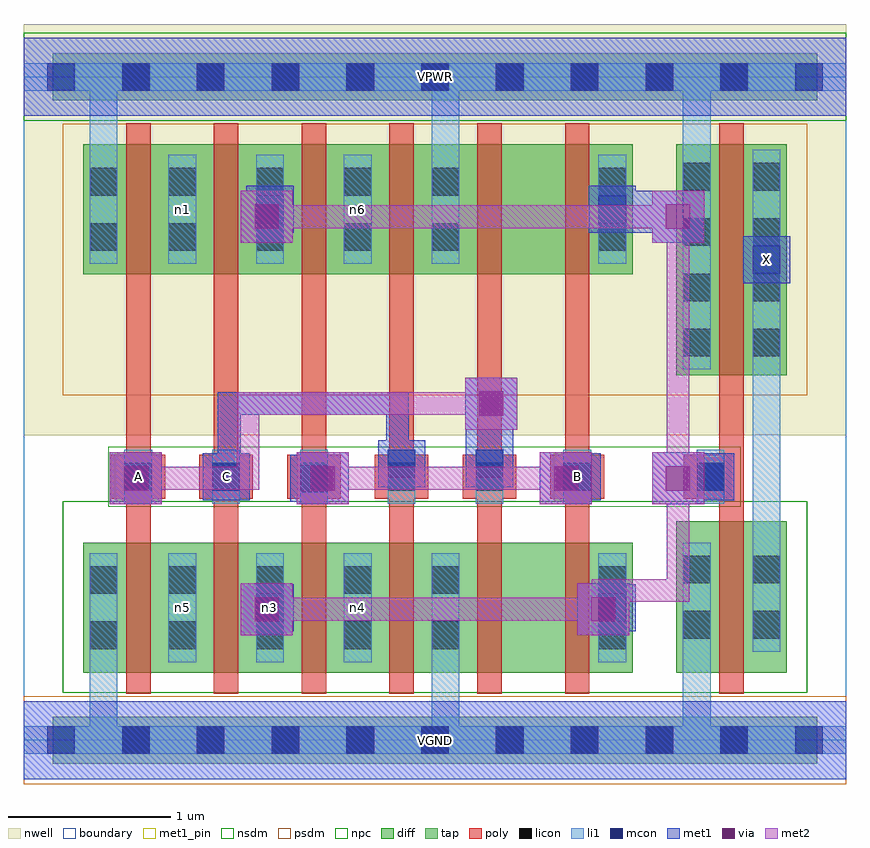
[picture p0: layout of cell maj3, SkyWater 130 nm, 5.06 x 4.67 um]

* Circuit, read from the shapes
.subckt maj3 A B C VGND VPWR X n1 n3 n4 n5 n6
XM1 n5 A VGND VGND sky130_fd_pr__nfet_01v8 w=0.8 l=0.15
XM2 n3 C n5 VGND sky130_fd_pr__nfet_01v8 w=0.8 l=0.15
XM3 n4 B n3 VGND sky130_fd_pr__nfet_01v8 w=0.8 l=0.15
XM4 VGND C n4 VGND sky130_fd_pr__nfet_01v8 w=0.8 l=0.15
XM5 n2 A VGND VGND sky130_fd_pr__nfet_01v8 w=0.8 l=0.15
XM6 n3 B n2 VGND sky130_fd_pr__nfet_01v8 w=0.8 l=0.15
XM7 X n3 VGND VGND sky130_fd_pr__nfet_01v8 w=0.93 l=0.15
XM8 n1 A VPWR VPWR sky130_fd_pr__pfet_01v8 w=0.8 l=0.15
XM9 n3 C n1 VPWR sky130_fd_pr__pfet_01v8 w=0.8 l=0.15
XM10 n6 B n3 VPWR sky130_fd_pr__pfet_01v8 w=0.8 l=0.15
XM11 VPWR C n6 VPWR sky130_fd_pr__pfet_01v8 w=0.8 l=0.15
XM12 n7 A VPWR VPWR sky130_fd_pr__pfet_01v8 w=0.8 l=0.15
XM13 n3 B n7 VPWR sky130_fd_pr__pfet_01v8 w=0.8 l=0.15
XM14 X n3 VPWR VPWR sky130_fd_pr__pfet_01v8 w=1.42 l=0.15
.ends

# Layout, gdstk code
import gdstk
lib = gdstk.Library(unit=1e-6, precision=1e-09)
def R(c, l, rs):  # rectangles x0, y0, x1, y1
    for r in rs: c.add(gdstk.rectangle(r[:2], r[2:], *l))
def A(c, l, x, y, w, h, nx, ny, dx, dy):  # array of equal rectangles
    R(c, l, [(x+i*dx, y+j*dy, x+i*dx+w, y+j*dy+h) for i in range(nx) for j in range(ny)])
nwell = (64, 20)
diff = (65, 20)
tap = (65, 44)
poly = (66, 20)
licon = (66, 44)
li1 = (67, 20)
mcon = (67, 44)
met1_pin = (68, 16)
met1 = (68, 20)
via = (68, 44)
met2 = (69, 20)
nsdm = (93, 44)
psdm = (94, 20)
npc = (95, 20)
boundary = (235, 4)

maj3 = lib.new_cell('maj3')
R(maj3, nwell, [(0,1.875,5.06,4.405)])
R(maj3, diff, [(0.365,0.415,3.745,1.215), (4.015,0.415,4.695,1.345), (4.015,2.245,4.695,3.665), (0.365,2.865,3.745,3.665)])
R(maj3, tap, [(0.18,-0.145,4.88,0.145), (0.18,3.935,4.88,4.225)])
A(maj3, poly, 0.63, 0.285, 0.15, 3.51, 6, 1, 0.54, 0)
A(maj3, poly, 0.54, 1.485, 0.33, 0.27, 6, 1, 0.54, 0)
R(maj3, poly, [(4.28,0.285,4.43,3.795), (4.06,1.485,4.39,1.755)])
A(maj3, licon, 0.605, -0.085, 0.17, 0.17, 9, 2, 0.46, 4.08)
A(maj3, licon, 0.89, 0.56, 0.17, 0.17, 4, 2, 0.54, 0.34)
A(maj3, licon, 0.62, 1.535, 0.17, 0.17, 6, 1, 0.54, 0)
A(maj3, licon, 4.055, 2.36, 0.17, 0.17, 1, 4, 0, 0.34)
A(maj3, licon, 4.485, 2.36, 0.17, 0.17, 1, 4, 0, 0.34)
A(maj3, licon, 0.89, 3.01, 0.17, 0.17, 4, 2, 0.54, 0.34)
R(maj3, licon, [(0.405,0.56,0.575,0.73), (3.535,0.56,3.705,0.73), (4.055,0.625,4.225,0.795), (4.485,0.625,4.655,0.795), (0.405,0.9,0.575,1.07), (3.535,0.9,3.705,1.07), (4.055,0.965,4.225,1.135), (4.485,0.965,4.655,1.135), (4.14,1.535,4.31,1.705), (0.405,3.01,0.575,3.18), (3.535,3.01,3.705,3.18), (0.405,3.35,0.575,3.52), (3.535,3.35,3.705,3.52)])
A(maj3, li1, 0.89, 0.48, 0.17, 0.67, 4, 2, 0.54, 2.45)
A(maj3, li1, 0.62, 1.455, 0.17, 0.33, 6, 1, 0.54, 0)
R(maj3, li1, [(0,-0.085,5.06,0.085), (0.405,-0.085,0.575,1.15), (2.51,-0.085,2.68,1.15), (4.055,-0.085,4.225,1.215), (0.405,0.48,0.575,1.15), (3.535,0.48,3.705,1.15), (4.055,0.545,4.225,1.215), (4.485,0.545,4.655,1.215), (4.485,0.545,4.655,3.63), (4.14,1.455,4.31,1.785), (4.055,2.28,4.225,3.63), (4.055,2.28,4.225,4.165), (4.485,2.28,4.655,3.63), (0.405,2.93,0.575,3.6), (0.405,2.93,0.575,4.165), (2.51,2.93,2.68,4.165), (3.535,2.93,3.705,3.6), (0,3.995,5.06,4.165)])
A(maj3, mcon, 0.145, -0.085, 0.17, 0.17, 11, 2, 0.46, 4.08)
R(maj3, mcon, [(1.43,0.73,1.6,0.9), (3.535,0.73,3.705,0.9), (1.7,1.525,1.87,1.695), (0.62,1.535,0.79,1.705), (1.16,1.535,1.33,1.705), (3.32,1.535,3.49,1.705), (4.14,1.535,4.31,1.705), (2.24,1.615,2.41,1.785), (2.78,1.615,2.95,1.785), (4.485,2.87,4.655,3.04), (1.43,3.18,1.6,3.35), (3.535,3.18,3.705,3.35)])
R(maj3, met1_pin, [(0,-0.24,5.06,0.24), (0.56,1.475,0.85,1.765), (1.1,1.475,1.39,1.765), (3.26,1.475,3.55,1.765), (4.425,2.81,4.715,3.1), (0,3.84,5.06,4.32)])
R(maj3, met1, [(0,-0.24,5.06,0.24), (1.335,0.645,1.655,0.965), (3.405,0.645,3.725,0.965), (1.37,0.67,1.66,0.96), (3.475,0.67,3.765,0.96), (1.425,0.735,1.565,0.875), (3.495,0.735,3.635,0.875), (0.53,1.45,0.85,1.77), (1.68,1.45,2,1.77), (3.175,1.45,3.495,1.77), (3.865,1.45,4.185,1.77), (1.64,1.465,1.93,1.755), (0.56,1.475,0.85,1.765), (1.1,1.475,1.39,1.765), (3.26,1.475,3.55,1.765), (4.08,1.475,4.37,1.765), (0.62,1.54,0.76,1.68), (1.195,1.54,1.335,1.68), (1.195,1.54,1.335,2.14), (1.715,1.54,1.91,1.68), (3.265,1.54,3.405,1.68), (3.955,1.54,4.325,1.68), (4.185,1.54,4.325,1.68), (2.18,1.555,2.47,1.845), (2.72,1.555,3.01,1.845), (2.23,1.63,2.395,1.77), (2.23,1.63,2.37,1.91), (2.795,1.63,2.945,1.77), (2.805,1.63,2.945,1.91), (2.23,1.77,2.37,2.14), (2.805,1.77,2.945,2.14), (2.72,1.845,3.01,1.91), (2.715,1.91,3.035,2.23), (1.195,2,2.37,2.14), (4.425,2.81,4.715,3.1), (1.335,3.06,1.655,3.38), (3.865,3.06,4.185,3.38), (1.37,3.12,1.66,3.41), (3.475,3.12,3.765,3.41), (3.765,3.12,3.865,3.38), (1.425,3.15,1.565,3.29), (3.61,3.15,3.75,3.29), (3.61,3.15,4.095,3.29), (0,3.84,5.06,4.32)])
R(maj3, via, [(1.42,0.73,1.57,0.88), (3.49,0.73,3.64,0.88), (0.615,1.535,0.765,1.685), (1.765,1.535,1.915,1.685), (3.26,1.535,3.41,1.685), (3.95,1.535,4.1,1.685), (2.8,1.995,2.95,2.145), (1.42,3.145,1.57,3.295), (3.95,3.145,4.1,3.295)])
R(maj3, met2, [(1.335,0.645,1.655,0.965), (3.405,0.645,3.725,0.965), (1.425,0.735,3.635,0.875), (3.495,0.735,3.635,0.99), (3.495,0.85,4.095,0.99), (3.955,0.85,4.095,1.68), (0.53,1.45,0.85,1.77), (1.68,1.45,2,1.77), (3.175,1.45,3.495,1.77), (3.865,1.45,4.185,1.77), (0.62,1.54,1.45,1.68), (1.31,1.54,1.45,2.14), (1.77,1.54,3.405,1.68), (3.955,1.54,4.095,3.29), (2.715,1.91,3.035,2.23), (1.31,2,2.945,2.14), (1.335,3.06,1.655,3.38), (3.865,3.06,4.185,3.38), (1.425,3.15,4.095,3.29)])
R(maj3, nsdm, [(0.24,0.29,4.82,1.47), (0,3.81,5.06,4.35)])
R(maj3, psdm, [(0,-0.27,5.06,0.27), (0.24,2.12,4.82,3.79)])
R(maj3, npc, [(0.52,1.435,4.41,1.805)])
R(maj3, boundary, [(0,0,5.06,4.08)])
maj3.add(gdstk.Label('n5', (0.975,0.815), layer=67, texttype=5))
maj3.add(gdstk.Label('n3', (1.515,0.815), layer=67, texttype=5))
maj3.add(gdstk.Label('n4', (2.055,0.815), layer=67, texttype=5))
maj3.add(gdstk.Label('n1', (0.975,3.265), layer=67, texttype=5))
maj3.add(gdstk.Label('n6', (2.055,3.265), layer=67, texttype=5))
maj3.add(gdstk.Label('A', (0.705,1.62), layer=68, texttype=5))
maj3.add(gdstk.Label('B', (3.405,1.62), layer=68, texttype=5))
maj3.add(gdstk.Label('C', (1.245,1.62), layer=68, texttype=5))
maj3.add(gdstk.Label('X', (4.57,2.955), layer=68, texttype=5))
maj3.add(gdstk.Label('VPWR', (2.53,4.08), layer=68, texttype=5))
maj3.add(gdstk.Label('VGND', (2.53,0), layer=68, texttype=5))
maj3.add(gdstk.Label('A', (0.705,1.62), layer=68, texttype=16))
maj3.add(gdstk.Label('B', (3.405,1.62), layer=68, texttype=16))
maj3.add(gdstk.Label('C', (1.245,1.62), layer=68, texttype=16))
maj3.add(gdstk.Label('X', (4.57,2.955), layer=68, texttype=16))
maj3.add(gdstk.Label('VPWR', (2.53,4.08), layer=68, texttype=16))
maj3.add(gdstk.Label('VGND', (2.53,0), layer=68, texttype=16))

lib.write_gds('maj3.gds')
